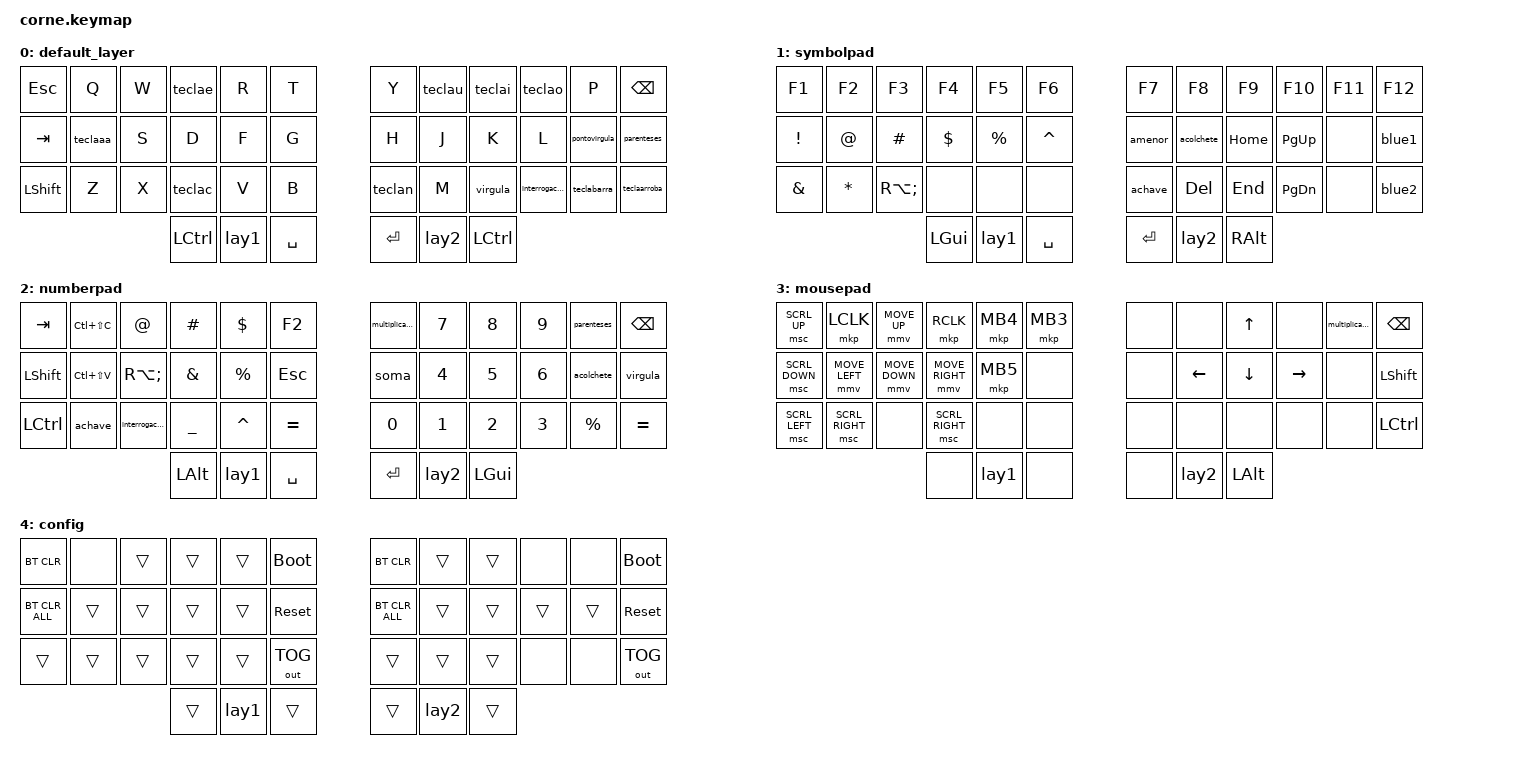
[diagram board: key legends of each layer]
#include <behaviors.dtsi>
#include <dt-bindings/zmk/bt.h>
#include <dt-bindings/zmk/keys.h>
#include <dt-bindings/zmk/outputs.h>
#include <dt-bindings/zmk/pointing.h>

/ {
    behaviors {
        virgula: virgula {
            compatible = "zmk,behavior-tap-dance";
            label = "VIRGULA";
            #binding-cells = <0>;
            bindings = <&kp COMMA>, <&kp DOT>, <&kp SEMI>, <&kp DOUBLE_QUOTES>;

            tapping-term-ms = <250>;
        };

        interrogacao: interrogacao {
            compatible = "zmk,behavior-tap-dance";
            label = "INTERROGACAO";
            #binding-cells = <0>;
            bindings = <&kp QUESTION>, <&kp EXCLAMATION>;

            tapping-term-ms = <250>;
        };

        soma: soma {
            compatible = "zmk,behavior-tap-dance";
            label = "SOMA";
            #binding-cells = <0>;
            bindings = <&kp PLUS>, <&kp MINUS>, <&kp SLASH>, <&kp ASTERISK>;

            tapping-term-ms = <250>;
        };

        multiplicacao: multiplicacao {
            compatible = "zmk,behavior-tap-dance";
            label = "MULTIPLICACAO";
            #binding-cells = <0>;
            bindings = <&kp ASTERISK>, <&kp SLASH>;

            tapping-term-ms = <250>;
        };

        agudo: agudo {
            compatible = "zmk,behavior-tap-dance";
            label = "AGUDO";
            #binding-cells = <0>;
            bindings = <&kp SQT>, <&kp GRAVE>, <&kp CARET>, <&kp TILDE>;

            tapping-term-ms = <250>;
        };

        acentotil: acentotil {
            compatible = "zmk,behavior-tap-dance";
            label = "ACENTOTIL";
            #binding-cells = <0>;
            bindings = <&kp TILDE>, <&kp CARET>;

            tapping-term-ms = <250>;
        };

        parenteses: parenteses {
            compatible = "zmk,behavior-tap-dance";
            label = "PARENTESES";
            #binding-cells = <0>;
            bindings =
                <&kp LPAR>,
                <&kp RPAR>,
                <&kp LEFT_BRACKET>,
                <&kp RIGHT_BRACKET>;

            tapping-term-ms = <250>;
        };

        achave: achave {
            compatible = "zmk,behavior-tap-dance";
            label = "ACHAVE";
            #binding-cells = <0>;
            bindings = <&kp LBRC>, <&kp RBRC>;

            tapping-term-ms = <250>;
        };

        acolchete: acolchete {
            compatible = "zmk,behavior-tap-dance";
            label = "ACOLCHETE";
            #binding-cells = <0>;
            bindings = <&kp LBKT>, <&kp RBKT>;

            tapping-term-ms = <250>;
        };

        amenor: amenor {
            compatible = "zmk,behavior-tap-dance";
            label = "AMENOR";
            #binding-cells = <0>;
            bindings = <&kp LT>, <&kp GT>, <&kp LBRC>, <&kp RBRC>;

            tapping-term-ms = <250>;
        };

        lay1: lay1 {
            compatible = "zmk,behavior-tap-dance";
            label = "LAY1";
            #binding-cells = <0>;
            bindings = <&to 0>, <&to 1>, <&none>, <&none>, <&to 4>;

            tapping-term-ms = <250>;
        };

        lay2: lay2 {
            compatible = "zmk,behavior-tap-dance";
            label = "LAY2";
            #binding-cells = <0>;
            bindings = <&to 2>, <&to 3>, <&none>, <&none>, <&to 4>;

            tapping-term-ms = <250>;
        };

        teclaaa: teclaaa {
            compatible = "zmk,behavior-tap-dance";
            label = "TECLAAA";
            #binding-cells = <0>;
            bindings =
                <&kp A>,
                <&tecla_aagudo>,
                <&tecla_aatil>,
                <&tecla_acrase>;

            tapping-term-ms = <250>;
        };

        teclae: teclae {
            compatible = "zmk,behavior-tap-dance";
            label = "TECLAE";
            #binding-cells = <0>;
            bindings = <&kp E>, <&tecla_eagudo>, <&tecla_ecircunflexo>;

            tapping-term-ms = <250>;
        };

        teclao: teclao {
            compatible = "zmk,behavior-tap-dance";
            label = "TECLAO";
            #binding-cells = <0>;
            bindings =
                <&kp O>,
                <&tecla_oagudo>,
                <&tecla_otil>,
                <&tecla_ocircunflexo>;

            tapping-term-ms = <250>;
        };

        teclai: teclai {
            compatible = "zmk,behavior-tap-dance";
            label = "TECLAI";
            #binding-cells = <0>;
            bindings = <&kp I>, <&tecla_iagudo>;

            tapping-term-ms = <250>;
        };

        teclau: teclau {
            compatible = "zmk,behavior-tap-dance";
            label = "TECLAU";
            #binding-cells = <0>;
            bindings = <&kp U>, <&tecla_uagudo>;

            tapping-term-ms = <250>;
        };

        teclac: teclac {
            compatible = "zmk,behavior-tap-dance";
            label = "TECLAC";
            #binding-cells = <0>;
            bindings = <&kp C>, <&teclaa_cedilha>;

            tapping-term-ms = <250>;
        };

        teclan: teclan {
            compatible = "zmk,behavior-tap-dance";
            label = "TECLAN";
            #binding-cells = <0>;
            bindings = <&kp N>, <&tecla_ntil>;

            tapping-term-ms = <250>;
        };

        blue1: blue1 {
            compatible = "zmk,behavior-tap-dance";
            label = "BLUE1";
            #binding-cells = <0>;
            bindings =
                <&bt BT_SEL 0>,
                <&bt BT_SEL 1>,
                <&bt BT_SEL 2>,
                <&bt BT_SEL 4>;

            tapping-term-ms = <250>;
        };

        blue2: blue2 {
            compatible = "zmk,behavior-tap-dance";
            label = "BLUE2";
            #binding-cells = <0>;
            bindings = <&bt BT_SEL 2>, <&bt BT_SEL 3>;

            tapping-term-ms = <250>;
        };

        teclaarroba: teclaarroba {
            compatible = "zmk,behavior-tap-dance";
            label = "TECLAARROBA";
            #binding-cells = <0>;
            bindings = <&kp AT_SIGN>, <&kp UNDERSCORE>, <&kp BSLH>, <&kp PIPE>;

            tapping-term-ms = <250>;
        };

        teclabarra: teclabarra {
            compatible = "zmk,behavior-tap-dance";
            label = "TECLABARRA";
            #binding-cells = <0>;
            bindings = <&kp FSLH>, <&kp BSLH>, <&kp PIPE>;

            tapping-term-ms = <250>;
        };

        pontovirgula: pontovirgula {
            compatible = "zmk,behavior-tap-dance";
            label = "PONTOVIRGULA";
            #binding-cells = <0>;
            bindings = <&kp SEMI>, <&kp SQT>;

            tapping-term-ms = <250>;
        };

        tabesc: tabesc {
            compatible = "zmk,behavior-tap-dance";
            label = "TABESC";
            #binding-cells = <0>;
            bindings = <&kp TAB>, <&kp ESC>;

            tapping-term-ms = <220>;
        };

        bkdel: bkdel {
            compatible = "zmk,behavior-tap-dance";
            label = "BKDEL";
            #binding-cells = <0>;
            bindings = <&kp BACKSPACE>, <&kp DEL>;

            tapping-term-ms = <210>;
        };
    };

    macros {
        tecla_eagudo: eagudo {
            compatible = "zmk,behavior-macro";
            #binding-cells = <0>;
            bindings = <&kp SQT &kp E>;
            label = "EAGUDO";
        };

        tecla_ecircunflexo: ecircunflexo {
            compatible = "zmk,behavior-macro";
            #binding-cells = <0>;
            bindings = <&kp CARET &kp E>;
            label = "ECIRCUNFLEXO";
        };

        tecla_ntil: tecla_ntil {
            compatible = "zmk,behavior-macro";
            #binding-cells = <0>;
            bindings = <&kp TILDE &kp N>;
            label = "TECLA_NTIL";
        };

        tecla_aagudo: tecla_aagudo {
            compatible = "zmk,behavior-macro";
            #binding-cells = <0>;
            bindings = <&kp SQT &kp A>;
            label = "TECLA_AAGUDO";
        };

        tecla_acircunflexo: tecla_acircunflexo {
            compatible = "zmk,behavior-macro";
            #binding-cells = <0>;
            bindings = <&kp CARET &kp A>;
            label = "TECLA_ACIRCUNFLEXO";
        };

        tecla_aatil: tecla_atil {
            compatible = "zmk,behavior-macro";
            #binding-cells = <0>;
            bindings = <&kp TILDE &kp A>;
            label = "TECLA_ATIL";
        };

        tecla_acrase: tecla_acrase {
            compatible = "zmk,behavior-macro";
            #binding-cells = <0>;
            bindings = <&kp GRAVE &kp A>;
            label = "TECLA_ACRASE";
        };

        tecla_iagudo: tecla_iagudo {
            compatible = "zmk,behavior-macro";
            #binding-cells = <0>;
            bindings = <&kp SQT &kp I>;
            label = "TECLA_IAGUDO";
        };

        tecla_oagudo: tecla_oagudo {
            compatible = "zmk,behavior-macro";
            #binding-cells = <0>;
            bindings = <&kp SQT &kp O>;
            label = "TECLA_OAGUDO";
        };

        tecla_uagudo: tecla_uagudo {
            compatible = "zmk,behavior-macro";
            #binding-cells = <0>;
            bindings = <&kp SQT &kp U>;
            label = "TECLA_UAGUDO";
        };

        tecla_ocircunflexo: tecla_ocircunflexo {
            compatible = "zmk,behavior-macro";
            #binding-cells = <0>;
            bindings = <&kp CARET &kp O>;
            label = "TECLA_OCIRCUNFLEXO";
        };

        tecla_otil: tecla_otil {
            compatible = "zmk,behavior-macro";
            #binding-cells = <0>;
            bindings = <&kp TILDE &kp O>;
            label = "TECLA_OTIL";
        };

        teclaa_cedilha: teclaa_cedilha {
            compatible = "zmk,behavior-macro";
            #binding-cells = <0>;
            bindings = <&kp SQT &kp C>;
            label = "TECLAA_CEDILHA";
        };
    };

    keymap {
        compatible = "zmk,keymap";

        /* ---------------------------------------------------------
         * CAMADA 0: BASE (QWERTY)
         * --------------------------------------------------------- */

        default_layer {
            bindings = <
&kp ESC    &kp Q     &kp W  &teclae    &kp R  &kp T        &kp Y    &teclau  &teclai    &teclao        &kp P          &kp BSPC
&kp TAB    &teclaaa  &kp S  &kp D      &kp F  &kp G        &kp H    &kp J    &kp K      &kp L          &pontovirgula  &parenteses
&kp LSHFT  &kp Z     &kp X  &teclac    &kp V  &kp B        &teclan  &kp M    &virgula   &interrogacao  &teclabarra    &teclaarroba
                            &kp LCTRL  &lay1  &kp SPACE    &kp RET  &lay2    &kp LCTRL
            >;
        };

        /* ---------------------------------------------------------
         * CAMADA 1: LOWER (NÚMEROS & NAVEGAÇÃO)
         * --------------------------------------------------------- */

        symbolpad {
            bindings = <
&kp F1           &kp F2        &kp F3             &kp F4      &kp F5       &kp F6       &kp F7   &kp F8      &kp F9    &kp F10        &kp F11  &kp F12
&kp EXCLAMATION  &kp AT_SIGN   &kp HASH           &kp DOLLAR  &kp PERCENT  &kp CARET    &amenor  &acolchete  &kp HOME  &kp PAGE_UP    &none    &blue1
&kp AMPERSAND    &kp ASTERISK  &kp RA(SEMICOLON)  &none       &none        &none        &achave  &kp DEL     &kp END   &kp PAGE_DOWN  &none    &blue2
                                                  &kp LGUI    &lay1        &kp SPACE    &kp RET  &lay2       &kp RALT
            >;
        };

        /* ---------------------------------------------------------
         * CAMADA 2: RAISE (SÍMBOLOS & PONTUAÇÃO)
         * --------------------------------------------------------- */

        numberpad {
            bindings = <
&kp TAB         &kp LC(LS(C))  &kp AT         &kp HASH        &kp DLLR     &kp F2        &multiplicacao  &kp N7        &kp N8        &kp N9        &parenteses  &kp BSPC
&kp LEFT_SHIFT  &kp LC(LS(V))  &kp RA(SEMI)   &kp AMPERSAND   &kp PERCENT  &kp ESCAPE    &soma           &kp NUMBER_4  &kp N5        &kp NUMBER_6  &acolchete   &virgula
&kp LCTRL       &achave        &interrogacao  &kp UNDERSCORE  &kp CARET    &kp EQUAL     &kp N0          &kp NUMBER_1  &kp NUMBER_2  &kp NUMBER_3  &kp PERCENT  &kp EQUAL
                                              &kp LEFT_ALT    &lay1        &kp SPACE     &kp RET         &lay2         &kp LEFT_GUI
            >;
        };

        /* ---------------------------------------------------------
         * CAMADA 3: ADJUST (SISTEMA & BOOTLOADER)
         * --------------------------------------------------------- */

        mousepad {
            bindings = <
&msc SCRL_UP    &mkp LCLK        &mmv MOVE_UP    &mkp RCLK        &mkp MB4  &mkp MB3    &none  &none     &kp UP_ARROW  &none      &multiplicacao  &kp BACKSPACE
&msc SCRL_DOWN  &mmv MOVE_LEFT   &mmv MOVE_DOWN  &mmv MOVE_RIGHT  &mkp MB5  &none       &none  &kp LEFT  &kp DOWN      &kp RIGHT  &none           &kp LEFT_SHIFT
&msc SCRL_LEFT  &msc SCRL_RIGHT  &none           &msc SCRL_RIGHT  &none     &none       &none  &none     &none         &none      &none           &kp LCTRL
                                                 &none            &lay1     &none       &none  &lay2     &kp LEFT_ALT
            >;
        };

        config {
            bindings = <
&bt BT_CLR      &none   &trans  &trans  &trans  &bootloader     &bt BT_CLR      &trans  &trans  &none   &none   &bootloader
&bt BT_CLR_ALL  &trans  &trans  &trans  &trans  &sys_reset      &bt BT_CLR_ALL  &trans  &trans  &trans  &trans  &sys_reset
&trans          &trans  &trans  &trans  &trans  &out OUT_TOG    &trans          &trans  &trans  &none   &none   &out OUT_TOG
                                &trans  &lay1   &trans          &trans          &lay2   &trans
            >;
        };
    };
};
